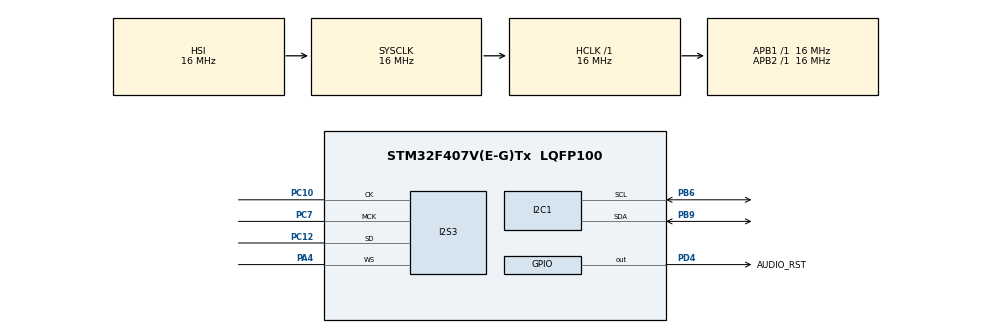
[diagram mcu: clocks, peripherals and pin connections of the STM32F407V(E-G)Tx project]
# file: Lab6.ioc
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Dma.Request0=SPI3_TX
Dma.SPI3_TX.0.Direction=DMA_MEMORY_TO_PERIPH
Dma.SPI3_TX.0.FIFOMode=DMA_FIFOMODE_ENABLE
Dma.SPI3_TX.0.FIFOThreshold=DMA_FIFO_THRESHOLD_FULL
Dma.SPI3_TX.0.Instance=DMA1_Stream5
Dma.SPI3_TX.0.MemBurst=DMA_MBURST_SINGLE
Dma.SPI3_TX.0.MemDataAlignment=DMA_MDATAALIGN_HALFWORD
Dma.SPI3_TX.0.MemInc=DMA_MINC_ENABLE
Dma.SPI3_TX.0.Mode=DMA_CIRCULAR
Dma.SPI3_TX.0.PeriphBurst=DMA_PBURST_SINGLE
Dma.SPI3_TX.0.PeriphDataAlignment=DMA_PDATAALIGN_HALFWORD
Dma.SPI3_TX.0.PeriphInc=DMA_PINC_DISABLE
Dma.SPI3_TX.0.Priority=DMA_PRIORITY_LOW
I2S3.AudioFreq=I2S_AUDIOFREQ_48K
I2S3.ErrorAudioFreq=-2.34 %
I2S3.FullDuplexMode=I2S_FULLDUPLEXMODE_DISABLE
I2S3.Instance=SPI$Index
I2S3.RealAudioFreq=46.875 KHz
I2S3.VirtualMode=I2S_MODE_MASTER
Mcu.Family=STM32F4
Mcu.Name=STM32F407V(E-G)Tx
Mcu.Package=LQFP100
NVIC.DMA1_Stream5_IRQn=true\:0\:0\:false\:false\:true\:false\:true\:true
NVIC.PriorityGroup=NVIC_PRIORITYGROUP_4
PA4.Mode=Half_Duplex_Master
PA4.Signal=I2S3_WS
PB6.Mode=I2C
PB6.Signal=I2C1_SCL
PB9.Mode=I2C
PB9.Signal=I2C1_SDA
PC10.Mode=Half_Duplex_Master
PC10.Signal=I2S3_CK
PC12.Mode=Half_Duplex_Master
PC12.Signal=I2S3_SD
PC7.Mode=Master_Clock_Activated
PC7.Signal=I2S3_MCK
PD4.GPIO_Label=AUDIO_RST
PD4.Signal=GPIO_Output
ProjectManager.HeapSize=0x200
ProjectManager.StackSize=0x400
ProjectManager.TargetToolchain=STM32CubeIDE
RCC.AHBFreq_Value=16000000
RCC.APB1Freq_Value=16000000
RCC.APB2Freq_Value=16000000
RCC.CortexFreq_Value=16000000
RCC.HSE_VALUE=25000000
RCC.HSI_VALUE=16000000
RCC.LSE_VALUE=32768
RCC.SYSCLKFreq_VALUE=16000000
RCC.VCOOutputFreq_Value=192000000
board=custom

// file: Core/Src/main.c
/* USER CODE BEGIN Header */
/**
  ******************************************************************************
  * @file           : main.c
  * @brief          : Main program body
  ******************************************************************************
  * @attention
  *
  * Copyright (c) 2024 STMicroelectronics.
  * All rights reserved.
  *
  * This software is licensed under terms that can be found in the LICENSE file
  * in the root directory of this software component.
  * If no LICENSE file comes with this software, it is provided AS-IS.
  *
  ******************************************************************************
  */
/* USER CODE END Header */
#include "main.h"

/* USER CODE BEGIN PD */

#define C4 0x0
#define C5 0x1
#define D5 0x2
#define E5 0x3
#define F5 0x4
#define G5 0x5
#define A5 0x6
#define B5 0x7
#define C6 0x8
#define D6 0x9
#define E6 0xa
#define F6 0xb
#define G6 0xc
#define A6 0xd
#define B6 0xe
#define C7 0xf

#define CS43L22_I2C_ADDRESS 0x94
#define I2C_TIMEOUT 10

/* USER CODE END PD */

/* USER CODE BEGIN PM */

#define ARRLEN(arr) (sizeof(arr) / sizeof(*arr))

/* USER CODE END PM */

I2C_HandleTypeDef hi2c1;

I2S_HandleTypeDef hi2s3;
DMA_HandleTypeDef hdma_spi3_tx;

/* USER CODE BEGIN PV */

static uint16_t dataI2S[100] = {0};

/* USER CODE END PV */

void SystemClock_Config(void);
static void MX_GPIO_Init(void);
static void MX_DMA_Init(void);
static void MX_I2C1_Init(void);
static void MX_I2S3_Init(void);

/* USER CODE BEGIN 0 */

static void CS43L22_Init(void) {
  HAL_GPIO_WritePin(AUDIO_RST_GPIO_Port, AUDIO_RST_Pin, GPIO_PIN_SET);

  uint8_t TxBuffers[][2] = {
    {0x0d, 0x01},
    {0x00, 0x99},
    {0x47, 0x80},
    {0x32, 0xff},
    {0x32, 0xf7},
    {0x00, 0x00},
    {0x04, 0xaf},
    {0x0d, 0x70},
    {0x05, 0x81},
    {0x06, 0x07},
    {0x0a, 0x00},
    {0x27, 0x00},
    {0x1a, 0x0a},
    {0x1b, 0x0a},
    {0x1f, 0x0f},
    {0x02, 0x9e}
  };

  for (int i = 0; i < ARRLEN(TxBuffers); i++)
    HAL_I2C_Master_Transmit(&hi2c1,
                            CS43L22_I2C_ADDRESS,
                            TxBuffers[i],
                            ARRLEN(TxBuffers[i]),
                            I2C_TIMEOUT);
}

static void CS43L22_Beep(uint8_t pitch, uint32_t duration_ms) {
  uint8_t TxBuffers[][2] = {
    {0x1d, 0x00},
    {0x1d, 0x15},
    {0x1c, pitch},
    {0x1e, 0xc0}
  };

  for (int i = 0; i < ARRLEN(TxBuffers); i++)
    HAL_I2C_Master_Transmit(&hi2c1,
                            CS43L22_I2C_ADDRESS,
                            TxBuffers[i],
                            ARRLEN(TxBuffers[i]),
                            I2C_TIMEOUT);

  HAL_Delay(duration_ms);

  uint8_t TxBuffer[2] = {0x1e, 0x0};
  HAL_I2C_Master_Transmit(&hi2c1,
                          CS43L22_I2C_ADDRESS,
                          TxBuffer,
                          ARRLEN(TxBuffer),
                          I2C_TIMEOUT);
}

void annoy(uint8_t pitch, uint32_t dplay, uint32_t dsilence) {
  CS43L22_Beep(pitch, dplay);
  HAL_Delay(dsilence);
}

/* USER CODE END 0 */

int main(void)
{

  /* MCU Configuration--------------------------------------------------------*/

  /* Reset of all peripherals, Initializes the Flash interface and the Systick. */
  HAL_Init();

  /* Configure the system clock */
  SystemClock_Config();

  /* Initialize all configured peripherals */
  MX_GPIO_Init();
  MX_DMA_Init();
  MX_I2C1_Init();
  MX_I2S3_Init();
  /* USER CODE BEGIN 2 */

  CS43L22_Init();

  HAL_I2S_Transmit_DMA(&hi2s3, dataI2S, ARRLEN(dataI2S));

  const uint32_t dtime = 200;
  const uint32_t dwait = 100;

  /* USER CODE END 2 */

  /* Infinite loop */
  /* USER CODE BEGIN WHILE */
  while (1)
  {
    for (int i = 0; i < 2; i++) {
      annoy(D5, dtime * 2, dwait);
      annoy(D5, dtime * 2, dwait);
      annoy(D5, dtime * 4, dwait);
    }

    annoy(D5, dtime * 2, dwait);
    annoy(F5, dtime * 2, dwait);
    annoy(C4, dtime * 2, dwait);
    annoy(C5, dtime * 2, dwait);

    annoy(D5, dtime * 8, dwait);

    for (int i = 0; i < 4; i++)
      annoy(E5, dtime * 2, dwait);

    annoy(E5, dtime * 2, dwait);
    annoy(D5, dtime * 2, dwait);
    annoy(D5, dtime * 2, dwait);
    annoy(D5, dtime, dwait);
    annoy(D5, dtime, dwait);

    annoy(F5, dtime * 2, dwait);
    annoy(F5, dtime * 2, dwait);
    annoy(E5, dtime * 2, dwait);
    annoy(C5, dtime * 2, dwait);

    annoy(C4, dtime * 8, dwait);
    /* USER CODE END WHILE */

  }
}

void SystemClock_Config(void)
{
  RCC_OscInitTypeDef RCC_OscInitStruct = {0};
  RCC_ClkInitTypeDef RCC_ClkInitStruct = {0};

  /** Macro to configure the PLL multiplication factor
  */
  __HAL_RCC_PLL_PLLM_CONFIG(16);

  /** Macro to configure the PLL clock source
  */
  __HAL_RCC_PLL_PLLSOURCE_CONFIG(RCC_PLLSOURCE_HSI);

  /** Configure the main internal regulator output voltage
  */
  __HAL_RCC_PWR_CLK_ENABLE();
  __HAL_PWR_VOLTAGESCALING_CONFIG(PWR_REGULATOR_VOLTAGE_SCALE1);

  /** Initializes the RCC Oscillators according to the specified parameters
  * in the RCC_OscInitTypeDef structure.
  */
  RCC_OscInitStruct.OscillatorType = RCC_OSCILLATORTYPE_HSI;
  RCC_OscInitStruct.HSIState = RCC_HSI_ON;
  RCC_OscInitStruct.HSICalibrationValue = RCC_HSICALIBRATION_DEFAULT;
  RCC_OscInitStruct.PLL.PLLState = RCC_PLL_NONE;
  RCC_OscInitStruct.PLL.PLLSource = RCC_PLLSOURCE_HSI;
  if (HAL_RCC_OscConfig(&RCC_OscInitStruct) != HAL_OK)
  {
    Error_Handler();
  }

  /** Initializes the CPU, AHB and APB buses clocks
  */
  RCC_ClkInitStruct.ClockType = RCC_CLOCKTYPE_HCLK|RCC_CLOCKTYPE_SYSCLK
                              |RCC_CLOCKTYPE_PCLK1|RCC_CLOCKTYPE_PCLK2;
  RCC_ClkInitStruct.SYSCLKSource = RCC_SYSCLKSOURCE_HSI;
  RCC_ClkInitStruct.AHBCLKDivider = RCC_SYSCLK_DIV1;
  RCC_ClkInitStruct.APB1CLKDivider = RCC_HCLK_DIV1;
  RCC_ClkInitStruct.APB2CLKDivider = RCC_HCLK_DIV1;

  if (HAL_RCC_ClockConfig(&RCC_ClkInitStruct, FLASH_LATENCY_0) != HAL_OK)
  {
    Error_Handler();
  }
}

static void MX_I2C1_Init(void)
{

  hi2c1.Instance = I2C1;
  hi2c1.Init.ClockSpeed = 100000;
  hi2c1.Init.DutyCycle = I2C_DUTYCYCLE_2;
  hi2c1.Init.OwnAddress1 = 0;
  hi2c1.Init.AddressingMode = I2C_ADDRESSINGMODE_7BIT;
  hi2c1.Init.DualAddressMode = I2C_DUALADDRESS_DISABLE;
  hi2c1.Init.OwnAddress2 = 0;
  hi2c1.Init.GeneralCallMode = I2C_GENERALCALL_DISABLE;
  hi2c1.Init.NoStretchMode = I2C_NOSTRETCH_DISABLE;
  if (HAL_I2C_Init(&hi2c1) != HAL_OK)
  {
    Error_Handler();
  }

}

static void MX_I2S3_Init(void)
{

  hi2s3.Instance = SPI3;
  hi2s3.Init.Mode = I2S_MODE_MASTER_TX;
  hi2s3.Init.Standard = I2S_STANDARD_PHILIPS;
  hi2s3.Init.DataFormat = I2S_DATAFORMAT_16B;
  hi2s3.Init.MCLKOutput = I2S_MCLKOUTPUT_ENABLE;
  hi2s3.Init.AudioFreq = I2S_AUDIOFREQ_48K;
  hi2s3.Init.CPOL = I2S_CPOL_LOW;
  hi2s3.Init.ClockSource = I2S_CLOCK_PLL;
  hi2s3.Init.FullDuplexMode = I2S_FULLDUPLEXMODE_DISABLE;
  if (HAL_I2S_Init(&hi2s3) != HAL_OK)
  {
    Error_Handler();
  }

}

static void MX_DMA_Init(void)
{

  /* DMA controller clock enable */
  __HAL_RCC_DMA1_CLK_ENABLE();

  /* DMA interrupt init */
  /* DMA1_Stream5_IRQn interrupt configuration */
  HAL_NVIC_SetPriority(DMA1_Stream5_IRQn, 0, 0);
  HAL_NVIC_EnableIRQ(DMA1_Stream5_IRQn);

}

static void MX_GPIO_Init(void)
{
  GPIO_InitTypeDef GPIO_InitStruct = {0};

  /* GPIO Ports Clock Enable */
  __HAL_RCC_GPIOA_CLK_ENABLE();
  __HAL_RCC_GPIOC_CLK_ENABLE();
  __HAL_RCC_GPIOD_CLK_ENABLE();
  __HAL_RCC_GPIOB_CLK_ENABLE();

  /*Configure GPIO pin Output Level */
  HAL_GPIO_WritePin(AUDIO_RST_GPIO_Port, AUDIO_RST_Pin, GPIO_PIN_RESET);

  /*Configure GPIO pin : AUDIO_RST_Pin */
  GPIO_InitStruct.Pin = AUDIO_RST_Pin;
  GPIO_InitStruct.Mode = GPIO_MODE_OUTPUT_PP;
  GPIO_InitStruct.Pull = GPIO_NOPULL;
  GPIO_InitStruct.Speed = GPIO_SPEED_FREQ_LOW;
  HAL_GPIO_Init(AUDIO_RST_GPIO_Port, &GPIO_InitStruct);

}

void Error_Handler(void)
{
  __disable_irq();
  while (1)
  {
  }
}
